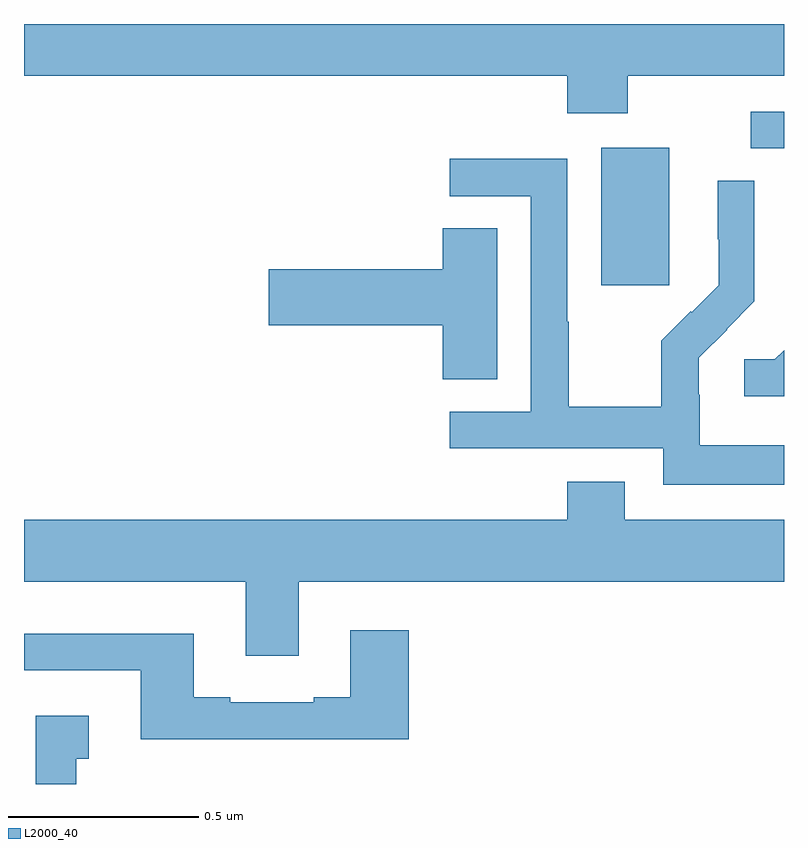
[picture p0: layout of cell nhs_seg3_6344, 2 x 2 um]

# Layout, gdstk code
import gdstk
lib = gdstk.Library(unit=1e-6, precision=1e-09)
def R(c, l, rs):  # rectangles x0, y0, x1, y1
    for r in rs: c.add(gdstk.rectangle(r[:2], r[2:], *l))
def P(c, l, *ps):  # polygons
    for p in ps: c.add(gdstk.Polygon(p, *l))
L2000_40 = (2000, 40)

nhs_seg3_6344 = lib.new_cell('nhs_seg3_6344')
R(nhs_seg3_6344, L2000_40, [(191.519,685.713,191.698,686.074), (191.913,686.073,192,686.169)])
P(nhs_seg3_6344, L2000_40, [(191.589,686.264),(192,686.264),(192,686.4),(190,686.4),(190,686.264),(191.429,686.264),(191.429,686.165),(191.589,686.165)],
  [(192,685.291),(191.778,685.291),(191.778,685.425),(191.776,685.425),(191.776,685.522),(191.85,685.596),(191.849,685.597),(191.922,685.67),(191.922,685.988),(191.826,685.988),(191.826,685.834),(191.828,685.834),(191.828,685.712),(191.757,685.641),(191.754,685.644),(191.677,685.567),(191.677,685.393),(191.433,685.393),(191.433,685.616),(191.43,685.616),(191.43,686.046),(191.121,686.046),(191.121,685.947),(191.334,685.947),(191.334,685.38),(191.121,685.38),(191.121,685.284),(191.682,685.284),(191.682,685.187),(192,685.187)],
  [(191.245,685.862),(191.102,685.862),(191.102,685.754),(190.644,685.754),(190.644,685.607),(191.102,685.607),(191.102,685.465),(191.245,685.465)],
  [(192,685.542),(191.976,685.518),(191.895,685.518),(191.895,685.421),(192,685.421)],
  [(190.723,684.932),(192,684.932),(192,685.096),(191.581,685.096),(191.581,685.195),(191.429,685.195),(191.429,685.096),(190,685.096),(190,684.932),(190.583,684.932),(190.583,684.738),(190.723,684.738)],
  [(191.012,684.805),(190.859,684.805),(190.859,684.628),(190.763,684.628),(190.763,684.615),(190.543,684.615),(190.543,684.628),(190.447,684.628),(190.447,684.796),(190,684.796),(190,684.699),(190.307,684.699),(190.307,684.518),(191.012,684.518)],
  [(190.138,684.467),(190.171,684.467),(190.171,684.58),(190.031,684.58),(190.031,684.4),(190.138,684.4)])

lib.write_gds('nhs_seg3_6344.gds')
